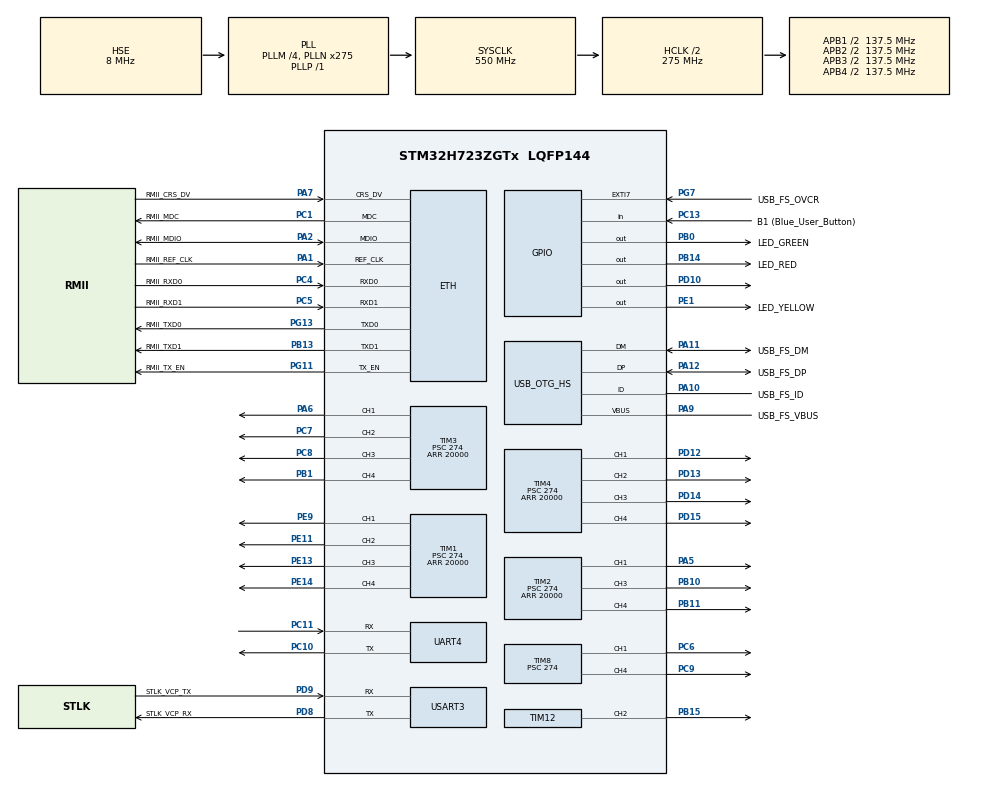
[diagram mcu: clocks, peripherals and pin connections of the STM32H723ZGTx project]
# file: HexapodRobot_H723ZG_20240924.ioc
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ETH.MediaInterface=HAL_ETH_RMII_MODE
Mcu.Family=STM32H7
Mcu.Name=STM32H723ZGTx
Mcu.Package=LQFP144
NVIC.PriorityGroup=NVIC_PRIORITYGROUP_4
PA1.GPIO_Label=RMII_REF_CLK
PA1.Mode=RMII
PA1.Signal=ETH_REF_CLK
PA10.GPIO_Label=USB_FS_ID
PA10.Mode=OTG/Dual-Role-Device-FS
PA10.Signal=USB_OTG_HS_ID
PA11.GPIO_Label=USB_FS_DM
PA11.Mode=OTG/Dual-Role-Device-FS
PA11.Signal=USB_OTG_HS_DM
PA12.GPIO_Label=USB_FS_DP
PA12.Mode=OTG/Dual-Role-Device-FS
PA12.Signal=USB_OTG_HS_DP
PA13(JTMS/SWDIO).GPIO_Label=SWDIO
PA13(JTMS/SWDIO).Mode=Trace_Asynchronous_SW
PA13(JTMS/SWDIO).Signal=DEBUG_JTMS-SWDIO
PA14(JTCK/SWCLK).GPIO_Label=SWCLK
PA14(JTCK/SWCLK).Mode=Trace_Asynchronous_SW
PA14(JTCK/SWCLK).Signal=DEBUG_JTCK-SWCLK
PA2.GPIO_Label=RMII_MDIO
PA2.Mode=RMII
PA2.Signal=ETH_MDIO
PA5.Signal=S_TIM2_CH1_ETR
PA6.Signal=S_TIM3_CH1
PA7.GPIO_Label=RMII_CRS_DV
PA7.Mode=RMII
PA7.Signal=ETH_CRS_DV
PA9.GPIO_Label=USB_FS_VBUS
PA9.Mode=Activate_VBUS_FS
PA9.Signal=USB_OTG_HS_VBUS
PB0.GPIO_Label=LED_GREEN
PB0.Signal=GPIO_Output
PB1.Signal=S_TIM3_CH4
PB10.Signal=S_TIM2_CH3
PB11.Signal=S_TIM2_CH4
PB13.GPIO_Label=RMII_TXD1
PB13.Mode=RMII
PB13.Signal=ETH_TXD1
PB14.GPIO_Label=LED_RED
PB14.Signal=GPIO_Output
PB15.Signal=S_TIM12_CH2
PB3(JTDO/TRACESWO).GPIO_Label=SWO
PB3(JTDO/TRACESWO).Mode=Trace_Asynchronous_SW
PB3(JTDO/TRACESWO).Signal=DEBUG_JTDO-SWO
PC1.GPIO_Label=RMII_MDC
PC1.Mode=RMII
PC1.Signal=ETH_MDC
PC10.Mode=Asynchronous
PC10.Signal=UART4_TX
PC11.Mode=Asynchronous
PC11.Signal=UART4_RX
PC13.GPIO_Label=B1 (Blue_User_Button)
PC13.Signal=GPIO_Input
PC14-OSC32_IN.Mode=LSE-External-Oscillator
PC14-OSC32_IN.Signal=RCC_OSC32_IN
PC15-OSC32_OUT.Mode=LSE-External-Oscillator
PC15-OSC32_OUT.Signal=RCC_OSC32_OUT
PC4.GPIO_Label=RMII_RXD0
PC4.Mode=RMII
PC4.Signal=ETH_RXD0
PC5.GPIO_Label=RMII_RXD1
PC5.Mode=RMII
PC5.Signal=ETH_RXD1
PC6.Signal=S_TIM8_CH1
PC7.Signal=S_TIM3_CH2
PC8.Signal=S_TIM3_CH3
PC9.Signal=S_TIM8_CH4
PD10.Signal=GPIO_Output
PD12.Signal=S_TIM4_CH1
PD13.Signal=S_TIM4_CH2
PD14.Signal=S_TIM4_CH3
PD15.Signal=S_TIM4_CH4
PD8.GPIO_Label=STLK_VCP_RX
PD8.Mode=Asynchronous
PD8.Signal=USART3_TX
PD9.GPIO_Label=STLK_VCP_TX
PD9.Mode=Asynchronous
PD9.Signal=USART3_RX
PE1.GPIO_Label=LED_YELLOW
PE1.Signal=GPIO_Output
PE11.Signal=S_TIM1_CH2
PE13.Signal=S_TIM1_CH3
PE14.Signal=S_TIM1_CH4
PE9.Signal=S_TIM1_CH1
PG11.GPIO_Label=RMII_TX_EN
PG11.Mode=RMII
PG11.Signal=ETH_TX_EN
PG13.GPIO_Label=RMII_TXD0
PG13.Mode=RMII
PG13.Signal=ETH_TXD0
PG7.GPIO_Label=USB_FS_OVCR
PG7.Signal=GPXTI7
PH0-OSC_IN.GPIO_Label=MCO
PH0-OSC_IN.Mode=HSE-External-Clock-Source
PH0-OSC_IN.Signal=RCC_OSC_IN
PH1-OSC_OUT.Signal=RCC_OSC_OUT
ProjectManager.HeapSize=0x200
ProjectManager.StackSize=0x400
ProjectManager.TargetToolchain=STM32CubeIDE
RCC.ADCFreq_Value=76000000
RCC.APB1Freq_Value=137500000
RCC.APB2Freq_Value=137500000
RCC.APB3Freq_Value=137500000
RCC.APB4Freq_Value=137500000
RCC.CortexFreq_Value=550000000
RCC.D1PPRE=RCC_APB3_DIV2
RCC.D2PPRE1=RCC_APB1_DIV2
RCC.D2PPRE2=RCC_APB2_DIV2
RCC.D3PPRE=RCC_APB4_DIV2
RCC.DIVM1=4
RCC.DIVM2=1
RCC.DIVN1=275
RCC.DIVN2=19
RCC.DIVP1=1
RCC.DIVQ1=4
RCC.HCLKFreq_Value=275000000
RCC.HPRE=RCC_HCLK_DIV2
RCC.HSE_VALUE=8000000
RCC.PLLFRACN=0
RCC.PLLSourceVirtual=RCC_PLLSOURCE_HSE
RCC.SYSCLKFreq_VALUE=550000000
RCC.SYSCLKSource=RCC_SYSCLKSOURCE_PLLCLK
RCC.USBCLockSelection=RCC_USBCLKSOURCE_HSI48
RCC.USBFreq_Value=48000000
SH.S_TIM12_CH2.0=TIM12_CH2,PWM Generation2 CH2
SH.S_TIM1_CH1.0=TIM1_CH1,PWM Generation1 CH1
SH.S_TIM1_CH2.0=TIM1_CH2,PWM Generation2 CH2
SH.S_TIM1_CH3.0=TIM1_CH3,PWM Generation3 CH3
SH.S_TIM1_CH4.0=TIM1_CH4,PWM Generation4 CH4
SH.S_TIM2_CH1_ETR.0=TIM2_CH1,PWM Generation1 CH1
SH.S_TIM2_CH3.0=TIM2_CH3,PWM Generation3 CH3
SH.S_TIM2_CH4.0=TIM2_CH4,PWM Generation4 CH4
SH.S_TIM3_CH1.0=TIM3_CH1,PWM Generation1 CH1
SH.S_TIM3_CH2.0=TIM3_CH2,PWM Generation2 CH2
SH.S_TIM3_CH3.0=TIM3_CH3,PWM Generation3 CH3
SH.S_TIM3_CH4.0=TIM3_CH4,PWM Generation4 CH4
SH.S_TIM4_CH1.0=TIM4_CH1,PWM Generation1 CH1
SH.S_TIM4_CH2.0=TIM4_CH2,PWM Generation2 CH2
SH.S_TIM4_CH3.0=TIM4_CH3,PWM Generation3 CH3
SH.S_TIM4_CH4.0=TIM4_CH4,PWM Generation4 CH4
SH.S_TIM8_CH1.0=TIM8_CH1,PWM Generation1 CH1
SH.S_TIM8_CH4.0=TIM8_CH4,PWM Generation4 CH4
TIM1.Channel-PWM\ Generation1\ CH1=TIM_CHANNEL_1
TIM1.Channel-PWM\ Generation2\ CH2=TIM_CHANNEL_2
TIM1.Channel-PWM\ Generation3\ CH3=TIM_CHANNEL_3
TIM1.Channel-PWM\ Generation4\ CH4=TIM_CHANNEL_4
TIM1.Period=20000
TIM1.Prescaler=274
TIM12.Channel-PWM\ Generation2\ CH2=TIM_CHANNEL_2
TIM12.Period=20000
TIM12.Prescaler=274
TIM2.Channel-PWM\ Generation1\ CH1=TIM_CHANNEL_1
TIM2.Channel-PWM\ Generation3\ CH3=TIM_CHANNEL_3
TIM2.Channel-PWM\ Generation4\ CH4=TIM_CHANNEL_4
TIM2.Period=20000
TIM2.Prescaler=274
TIM3.Channel-PWM\ Generation1\ CH1=TIM_CHANNEL_1
TIM3.Channel-PWM\ Generation2\ CH2=TIM_CHANNEL_2
TIM3.Channel-PWM\ Generation3\ CH3=TIM_CHANNEL_3
TIM3.Channel-PWM\ Generation4\ CH4=TIM_CHANNEL_4
TIM3.Period=20000
TIM3.Prescaler=274
TIM4.Channel-PWM\ Generation1\ CH1=TIM_CHANNEL_1
TIM4.Channel-PWM\ Generation2\ CH2=TIM_CHANNEL_2
TIM4.Channel-PWM\ Generation3\ CH3=TIM_CHANNEL_3
TIM4.Channel-PWM\ Generation4\ CH4=TIM_CHANNEL_4
TIM4.Period=20000
TIM4.Prescaler=274
TIM8.Channel-PWM\ Generation1\ CH1=TIM_CHANNEL_1
TIM8.Channel-PWM\ Generation4\ CH4=TIM_CHANNEL_4
TIM8.Period=20000
TIM8.Prescaler=274
USART3.VirtualMode-Asynchronous=VM_ASYNC
VP_MEMORYMAP_VS_MEMORYMAP.Mode=CurAppReg
VP_TIM12_VS_ClockSourceINT.Mode=Internal
VP_TIM1_VS_ClockSourceINT.Mode=Internal
VP_TIM2_VS_ClockSourceINT.Mode=Internal
VP_TIM3_VS_ClockSourceINT.Mode=Internal
VP_TIM4_VS_ClockSourceINT.Mode=Internal
VP_TIM8_VS_ClockSourceINT.Mode=Internal
board=NUCLEO-H723ZG

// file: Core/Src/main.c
/* USER CODE BEGIN Header */
/**
 ******************************************************************************
 * @file           : main.c
 * @brief          : Main program body
 ******************************************************************************
 * @attention
 *
 * Copyright (c) 2024 STMicroelectronics.
 * All rights reserved.
 *
 * This software is licensed under terms that can be found in the LICENSE file
 * in the root directory of this software component.
 * If no LICENSE file comes with this software, it is provided AS-IS.
 *
 ******************************************************************************
 */
/* USER CODE END Header */
#include "main.h"
#include "string.h"

/* USER CODE BEGIN Includes */
#include <stdio.h>
/* USER CODE END Includes */

#if defined ( __ICCARM__ ) /*!< IAR Compiler */
#pragma location=0x30000000
ETH_DMADescTypeDef  DMARxDscrTab[ETH_RX_DESC_CNT]; /* Ethernet Rx DMA Descriptors */
#pragma location=0x30000080
ETH_DMADescTypeDef  DMATxDscrTab[ETH_TX_DESC_CNT]; /* Ethernet Tx DMA Descriptors */

#elif defined ( __CC_ARM )  /* MDK ARM Compiler */

__attribute__((at(0x30000000))) ETH_DMADescTypeDef  DMARxDscrTab[ETH_RX_DESC_CNT]; /* Ethernet Rx DMA Descriptors */
__attribute__((at(0x30000080))) ETH_DMADescTypeDef  DMATxDscrTab[ETH_TX_DESC_CNT]; /* Ethernet Tx DMA Descriptors */

#elif defined ( __GNUC__ ) /* GNU Compiler */

ETH_DMADescTypeDef DMARxDscrTab[ETH_RX_DESC_CNT] __attribute__((section(".RxDecripSection"))); /* Ethernet Rx DMA Descriptors */
ETH_DMADescTypeDef DMATxDscrTab[ETH_TX_DESC_CNT] __attribute__((section(".TxDecripSection")));   /* Ethernet Tx DMA Descriptors */
#endif

ETH_TxPacketConfig TxConfig;

ETH_HandleTypeDef heth;

TIM_HandleTypeDef htim1;
TIM_HandleTypeDef htim2;
TIM_HandleTypeDef htim3;
TIM_HandleTypeDef htim4;
TIM_HandleTypeDef htim8;
TIM_HandleTypeDef htim12;

UART_HandleTypeDef huart4;
UART_HandleTypeDef huart3;

void SystemClock_Config(void);
static void MX_GPIO_Init(void);
static void MX_ETH_Init(void);
static void MX_USART3_UART_Init(void);
static void MX_USB_OTG_HS_USB_Init(void);
static void MX_TIM1_Init(void);
static void MX_TIM2_Init(void);
static void MX_TIM3_Init(void);
static void MX_TIM4_Init(void);
static void MX_TIM8_Init(void);
static void MX_TIM12_Init(void);
static void MX_UART4_Init(void);

int main(void)
{

  /* MCU Configuration--------------------------------------------------------*/

  /* Reset of all peripherals, Initializes the Flash interface and the Systick. */
  HAL_Init();

  /* Configure the system clock */
  SystemClock_Config();

  /* Initialize all configured peripherals */
  MX_GPIO_Init();
  MX_ETH_Init();
  MX_USART3_UART_Init();
  MX_USB_OTG_HS_USB_Init();
  MX_TIM1_Init();
  MX_TIM2_Init();
  MX_TIM3_Init();
  MX_TIM4_Init();
  MX_TIM8_Init();
  MX_TIM12_Init();
  MX_UART4_Init();
  /* USER CODE BEGIN 2 */

	HAL_TIM_PWM_Start(&htim1, TIM_CHANNEL_1);
	HAL_TIM_PWM_Start(&htim1, TIM_CHANNEL_2);
	HAL_TIM_PWM_Start(&htim1, TIM_CHANNEL_3);
	HAL_TIM_PWM_Start(&htim1, TIM_CHANNEL_4);
	HAL_TIM_PWM_Start(&htim2, TIM_CHANNEL_1);
	HAL_TIM_PWM_Start(&htim2, TIM_CHANNEL_3);
	HAL_TIM_PWM_Start(&htim2, TIM_CHANNEL_4);
	HAL_TIM_PWM_Start(&htim3, TIM_CHANNEL_1);
	HAL_TIM_PWM_Start(&htim3, TIM_CHANNEL_2);
	HAL_TIM_PWM_Start(&htim3, TIM_CHANNEL_3);
	HAL_TIM_PWM_Start(&htim3, TIM_CHANNEL_4);
	HAL_TIM_PWM_Start(&htim4, TIM_CHANNEL_1);
	HAL_TIM_PWM_Start(&htim4, TIM_CHANNEL_2);
	HAL_TIM_PWM_Start(&htim4, TIM_CHANNEL_3);
	HAL_TIM_PWM_Start(&htim4, TIM_CHANNEL_4);
	HAL_TIM_PWM_Start(&htim8, TIM_CHANNEL_1);
	HAL_TIM_PWM_Start(&htim8, TIM_CHANNEL_4);
	HAL_TIM_PWM_Start(&htim12, TIM_CHANNEL_2);

	void knl_start_mtkernel(void);
	knl_start_mtkernel();

  /* USER CODE END 2 */

  /* Infinite loop */
	while (1) {

	}
}

void SystemClock_Config(void)
{
  RCC_OscInitTypeDef RCC_OscInitStruct = {0};
  RCC_ClkInitTypeDef RCC_ClkInitStruct = {0};

  /** Supply configuration update enable
  */
  HAL_PWREx_ConfigSupply(PWR_LDO_SUPPLY);

  /** Configure the main internal regulator output voltage
  */
  __HAL_PWR_VOLTAGESCALING_CONFIG(PWR_REGULATOR_VOLTAGE_SCALE0);

  while(!__HAL_PWR_GET_FLAG(PWR_FLAG_VOSRDY)) {}

  /** Initializes the RCC Oscillators according to the specified parameters
  * in the RCC_OscInitTypeDef structure.
  */
  RCC_OscInitStruct.OscillatorType = RCC_OSCILLATORTYPE_HSI48|RCC_OSCILLATORTYPE_HSE;
  RCC_OscInitStruct.HSEState = RCC_HSE_BYPASS;
  RCC_OscInitStruct.HSI48State = RCC_HSI48_ON;
  RCC_OscInitStruct.PLL.PLLState = RCC_PLL_ON;
  RCC_OscInitStruct.PLL.PLLSource = RCC_PLLSOURCE_HSE;
  RCC_OscInitStruct.PLL.PLLM = 4;
  RCC_OscInitStruct.PLL.PLLN = 275;
  RCC_OscInitStruct.PLL.PLLP = 1;
  RCC_OscInitStruct.PLL.PLLQ = 4;
  RCC_OscInitStruct.PLL.PLLR = 2;
  RCC_OscInitStruct.PLL.PLLRGE = RCC_PLL1VCIRANGE_1;
  RCC_OscInitStruct.PLL.PLLVCOSEL = RCC_PLL1VCOWIDE;
  RCC_OscInitStruct.PLL.PLLFRACN = 0;
  if (HAL_RCC_OscConfig(&RCC_OscInitStruct) != HAL_OK)
  {
    Error_Handler();
  }

  /** Initializes the CPU, AHB and APB buses clocks
  */
  RCC_ClkInitStruct.ClockType = RCC_CLOCKTYPE_HCLK|RCC_CLOCKTYPE_SYSCLK
                              |RCC_CLOCKTYPE_PCLK1|RCC_CLOCKTYPE_PCLK2
                              |RCC_CLOCKTYPE_D3PCLK1|RCC_CLOCKTYPE_D1PCLK1;
  RCC_ClkInitStruct.SYSCLKSource = RCC_SYSCLKSOURCE_PLLCLK;
  RCC_ClkInitStruct.SYSCLKDivider = RCC_SYSCLK_DIV1;
  RCC_ClkInitStruct.AHBCLKDivider = RCC_HCLK_DIV2;
  RCC_ClkInitStruct.APB3CLKDivider = RCC_APB3_DIV2;
  RCC_ClkInitStruct.APB1CLKDivider = RCC_APB1_DIV2;
  RCC_ClkInitStruct.APB2CLKDivider = RCC_APB2_DIV2;
  RCC_ClkInitStruct.APB4CLKDivider = RCC_APB4_DIV2;

  if (HAL_RCC_ClockConfig(&RCC_ClkInitStruct, FLASH_LATENCY_3) != HAL_OK)
  {
    Error_Handler();
  }
}

static void MX_ETH_Init(void)
{

   static uint8_t MACAddr[6];

  heth.Instance = ETH;
  MACAddr[0] = 0x00;
  MACAddr[1] = 0x80;
  MACAddr[2] = 0xE1;
  MACAddr[3] = 0x00;
  MACAddr[4] = 0x00;
  MACAddr[5] = 0x00;
  heth.Init.MACAddr = &MACAddr[0];
  heth.Init.MediaInterface = HAL_ETH_RMII_MODE;
  heth.Init.TxDesc = DMATxDscrTab;
  heth.Init.RxDesc = DMARxDscrTab;
  heth.Init.RxBuffLen = 1524;

  if (HAL_ETH_Init(&heth) != HAL_OK)
  {
    Error_Handler();
  }

  memset(&TxConfig, 0 , sizeof(ETH_TxPacketConfig));
  TxConfig.Attributes = ETH_TX_PACKETS_FEATURES_CSUM | ETH_TX_PACKETS_FEATURES_CRCPAD;
  TxConfig.ChecksumCtrl = ETH_CHECKSUM_IPHDR_PAYLOAD_INSERT_PHDR_CALC;
  TxConfig.CRCPadCtrl = ETH_CRC_PAD_INSERT;

}

static void MX_TIM1_Init(void)
{

  TIM_ClockConfigTypeDef sClockSourceConfig = {0};
  TIM_MasterConfigTypeDef sMasterConfig = {0};
  TIM_OC_InitTypeDef sConfigOC = {0};
  TIM_BreakDeadTimeConfigTypeDef sBreakDeadTimeConfig = {0};

  htim1.Instance = TIM1;
  htim1.Init.Prescaler = 274;
  htim1.Init.CounterMode = TIM_COUNTERMODE_UP;
  htim1.Init.Period = 20000;
  htim1.Init.ClockDivision = TIM_CLOCKDIVISION_DIV1;
  htim1.Init.RepetitionCounter = 0;
  htim1.Init.AutoReloadPreload = TIM_AUTORELOAD_PRELOAD_DISABLE;
  if (HAL_TIM_Base_Init(&htim1) != HAL_OK)
  {
    Error_Handler();
  }
  sClockSourceConfig.ClockSource = TIM_CLOCKSOURCE_INTERNAL;
  if (HAL_TIM_ConfigClockSource(&htim1, &sClockSourceConfig) != HAL_OK)
  {
    Error_Handler();
  }
  if (HAL_TIM_PWM_Init(&htim1) != HAL_OK)
  {
    Error_Handler();
  }
  sMasterConfig.MasterOutputTrigger = TIM_TRGO_RESET;
  sMasterConfig.MasterOutputTrigger2 = TIM_TRGO2_RESET;
  sMasterConfig.MasterSlaveMode = TIM_MASTERSLAVEMODE_DISABLE;
  if (HAL_TIMEx_MasterConfigSynchronization(&htim1, &sMasterConfig) != HAL_OK)
  {
    Error_Handler();
  }
  sConfigOC.OCMode = TIM_OCMODE_PWM1;
  sConfigOC.Pulse = 0;
  sConfigOC.OCPolarity = TIM_OCPOLARITY_HIGH;
  sConfigOC.OCNPolarity = TIM_OCNPOLARITY_HIGH;
  sConfigOC.OCFastMode = TIM_OCFAST_DISABLE;
  sConfigOC.OCIdleState = TIM_OCIDLESTATE_RESET;
  sConfigOC.OCNIdleState = TIM_OCNIDLESTATE_RESET;
  if (HAL_TIM_PWM_ConfigChannel(&htim1, &sConfigOC, TIM_CHANNEL_1) != HAL_OK)
  {
    Error_Handler();
  }
  if (HAL_TIM_PWM_ConfigChannel(&htim1, &sConfigOC, TIM_CHANNEL_2) != HAL_OK)
  {
    Error_Handler();
  }
  if (HAL_TIM_PWM_ConfigChannel(&htim1, &sConfigOC, TIM_CHANNEL_3) != HAL_OK)
  {
    Error_Handler();
  }
  if (HAL_TIM_PWM_ConfigChannel(&htim1, &sConfigOC, TIM_CHANNEL_4) != HAL_OK)
  {
    Error_Handler();
  }
  sBreakDeadTimeConfig.OffStateRunMode = TIM_OSSR_DISABLE;
  sBreakDeadTimeConfig.OffStateIDLEMode = TIM_OSSI_DISABLE;
  sBreakDeadTimeConfig.LockLevel = TIM_LOCKLEVEL_OFF;
  sBreakDeadTimeConfig.DeadTime = 0;
  sBreakDeadTimeConfig.BreakState = TIM_BREAK_DISABLE;
  sBreakDeadTimeConfig.BreakPolarity = TIM_BREAKPOLARITY_HIGH;
  sBreakDeadTimeConfig.BreakFilter = 0;
  sBreakDeadTimeConfig.Break2State = TIM_BREAK2_DISABLE;
  sBreakDeadTimeConfig.Break2Polarity = TIM_BREAK2POLARITY_HIGH;
  sBreakDeadTimeConfig.Break2Filter = 0;
  sBreakDeadTimeConfig.AutomaticOutput = TIM_AUTOMATICOUTPUT_DISABLE;
  if (HAL_TIMEx_ConfigBreakDeadTime(&htim1, &sBreakDeadTimeConfig) != HAL_OK)
  {
    Error_Handler();
  }
  HAL_TIM_MspPostInit(&htim1);

}

static void MX_TIM2_Init(void)
{

  TIM_ClockConfigTypeDef sClockSourceConfig = {0};
  TIM_MasterConfigTypeDef sMasterConfig = {0};
  TIM_OC_InitTypeDef sConfigOC = {0};

  htim2.Instance = TIM2;
  htim2.Init.Prescaler = 274;
  htim2.Init.CounterMode = TIM_COUNTERMODE_UP;
  htim2.Init.Period = 20000;
  htim2.Init.ClockDivision = TIM_CLOCKDIVISION_DIV1;
  htim2.Init.AutoReloadPreload = TIM_AUTORELOAD_PRELOAD_DISABLE;
  if (HAL_TIM_Base_Init(&htim2) != HAL_OK)
  {
    Error_Handler();
  }
  sClockSourceConfig.ClockSource = TIM_CLOCKSOURCE_INTERNAL;
  if (HAL_TIM_ConfigClockSource(&htim2, &sClockSourceConfig) != HAL_OK)
  {
    Error_Handler();
  }
  if (HAL_TIM_PWM_Init(&htim2) != HAL_OK)
  {
    Error_Handler();
  }
  sMasterConfig.MasterOutputTrigger = TIM_TRGO_RESET;
  sMasterConfig.MasterSlaveMode = TIM_MASTERSLAVEMODE_DISABLE;
  if (HAL_TIMEx_MasterConfigSynchronization(&htim2, &sMasterConfig) != HAL_OK)
  {
    Error_Handler();
  }
  sConfigOC.OCMode = TIM_OCMODE_PWM1;
  sConfigOC.Pulse = 0;
  sConfigOC.OCPolarity = TIM_OCPOLARITY_HIGH;
  sConfigOC.OCFastMode = TIM_OCFAST_DISABLE;
  if (HAL_TIM_PWM_ConfigChannel(&htim2, &sConfigOC, TIM_CHANNEL_1) != HAL_OK)
  {
    Error_Handler();
  }
  if (HAL_TIM_PWM_ConfigChannel(&htim2, &sConfigOC, TIM_CHANNEL_3) != HAL_OK)
  {
    Error_Handler();
  }
  if (HAL_TIM_PWM_ConfigChannel(&htim2, &sConfigOC, TIM_CHANNEL_4) != HAL_OK)
  {
    Error_Handler();
  }
  HAL_TIM_MspPostInit(&htim2);

}

static void MX_TIM3_Init(void)
{

  TIM_ClockConfigTypeDef sClockSourceConfig = {0};
  TIM_MasterConfigTypeDef sMasterConfig = {0};
  TIM_OC_InitTypeDef sConfigOC = {0};

  htim3.Instance = TIM3;
  htim3.Init.Prescaler = 274;
  htim3.Init.CounterMode = TIM_COUNTERMODE_UP;
  htim3.Init.Period = 20000;
  htim3.Init.ClockDivision = TIM_CLOCKDIVISION_DIV1;
  htim3.Init.AutoReloadPreload = TIM_AUTORELOAD_PRELOAD_DISABLE;
  if (HAL_TIM_Base_Init(&htim3) != HAL_OK)
  {
    Error_Handler();
  }
  sClockSourceConfig.ClockSource = TIM_CLOCKSOURCE_INTERNAL;
  if (HAL_TIM_ConfigClockSource(&htim3, &sClockSourceConfig) != HAL_OK)
  {
    Error_Handler();
  }
  if (HAL_TIM_PWM_Init(&htim3) != HAL_OK)
  {
    Error_Handler();
  }
  sMasterConfig.MasterOutputTrigger = TIM_TRGO_RESET;
  sMasterConfig.MasterSlaveMode = TIM_MASTERSLAVEMODE_DISABLE;
  if (HAL_TIMEx_MasterConfigSynchronization(&htim3, &sMasterConfig) != HAL_OK)
  {
    Error_Handler();
  }
  sConfigOC.OCMode = TIM_OCMODE_PWM1;
  sConfigOC.Pulse = 0;
  sConfigOC.OCPolarity = TIM_OCPOLARITY_HIGH;
  sConfigOC.OCFastMode = TIM_OCFAST_DISABLE;
  if (HAL_TIM_PWM_ConfigChannel(&htim3, &sConfigOC, TIM_CHANNEL_1) != HAL_OK)
  {
    Error_Handler();
  }
  if (HAL_TIM_PWM_ConfigChannel(&htim3, &sConfigOC, TIM_CHANNEL_2) != HAL_OK)
  {
    Error_Handler();
  }
  if (HAL_TIM_PWM_ConfigChannel(&htim3, &sConfigOC, TIM_CHANNEL_3) != HAL_OK)
  {
    Error_Handler();
  }
  if (HAL_TIM_PWM_ConfigChannel(&htim3, &sConfigOC, TIM_CHANNEL_4) != HAL_OK)
  {
    Error_Handler();
  }
  HAL_TIM_MspPostInit(&htim3);

}

static void MX_TIM4_Init(void)
{

  TIM_ClockConfigTypeDef sClockSourceConfig = {0};
  TIM_MasterConfigTypeDef sMasterConfig = {0};
  TIM_OC_InitTypeDef sConfigOC = {0};

  htim4.Instance = TIM4;
  htim4.Init.Prescaler = 274;
  htim4.Init.CounterMode = TIM_COUNTERMODE_UP;
  htim4.Init.Period = 20000;
  htim4.Init.ClockDivision = TIM_CLOCKDIVISION_DIV1;
  htim4.Init.AutoReloadPreload = TIM_AUTORELOAD_PRELOAD_DISABLE;
  if (HAL_TIM_Base_Init(&htim4) != HAL_OK)
  {
    Error_Handler();
  }
  sClockSourceConfig.ClockSource = TIM_CLOCKSOURCE_INTERNAL;
  if (HAL_TIM_ConfigClockSource(&htim4, &sClockSourceConfig) != HAL_OK)
  {
    Error_Handler();
  }
  if (HAL_TIM_PWM_Init(&htim4) != HAL_OK)
  {
    Error_Handler();
  }
  sMasterConfig.MasterOutputTrigger = TIM_TRGO_RESET;
  sMasterConfig.MasterSlaveMode = TIM_MASTERSLAVEMODE_DISABLE;
  if (HAL_TIMEx_MasterConfigSynchronization(&htim4, &sMasterConfig) != HAL_OK)
  {
    Error_Handler();
  }
  sConfigOC.OCMode = TIM_OCMODE_PWM1;
  sConfigOC.Pulse = 0;
  sConfigOC.OCPolarity = TIM_OCPOLARITY_HIGH;
  sConfigOC.OCFastMode = TIM_OCFAST_DISABLE;
  if (HAL_TIM_PWM_ConfigChannel(&htim4, &sConfigOC, TIM_CHANNEL_1) != HAL_OK)
  {
    Error_Handler();
  }
  if (HAL_TIM_PWM_ConfigChannel(&htim4, &sConfigOC, TIM_CHANNEL_2) != HAL_OK)
  {
    Error_Handler();
  }
  if (HAL_TIM_PWM_ConfigChannel(&htim4, &sConfigOC, TIM_CHANNEL_3) != HAL_OK)
  {
    Error_Handler();
  }
  if (HAL_TIM_PWM_ConfigChannel(&htim4, &sConfigOC, TIM_CHANNEL_4) != HAL_OK)
  {
    Error_Handler();
  }
  HAL_TIM_MspPostInit(&htim4);

}

static void MX_TIM8_Init(void)
{

  TIM_ClockConfigTypeDef sClockSourceConfig = {0};
  TIM_MasterConfigTypeDef sMasterConfig = {0};
  TIM_OC_InitTypeDef sConfigOC = {0};
  TIM_BreakDeadTimeConfigTypeDef sBreakDeadTimeConfig = {0};

  htim8.Instance = TIM8;
  htim8.Init.Prescaler = 274;
  htim8.Init.CounterMode = TIM_COUNTERMODE_UP;
  htim8.Init.Period = 20000;
  htim8.Init.ClockDivision = TIM_CLOCKDIVISION_DIV1;
  htim8.Init.RepetitionCounter = 0;
  htim8.Init.AutoReloadPreload = TIM_AUTORELOAD_PRELOAD_DISABLE;
  if (HAL_TIM_Base_Init(&htim8) != HAL_OK)
  {
    Error_Handler();
  }
  sClockSourceConfig.ClockSource = TIM_CLOCKSOURCE_INTERNAL;
  if (HAL_TIM_ConfigClockSource(&htim8, &sClockSourceConfig) != HAL_OK)
  {
    Error_Handler();
  }
  if (HAL_TIM_PWM_Init(&htim8) != HAL_OK)
  {
    Error_Handler();
  }
  sMasterConfig.MasterOutputTrigger = TIM_TRGO_RESET;
  sMasterConfig.MasterOutputTrigger2 = TIM_TRGO2_RESET;
  sMasterConfig.MasterSlaveMode = TIM_MASTERSLAVEMODE_DISABLE;
  if (HAL_TIMEx_MasterConfigSynchronization(&htim8, &sMasterConfig) != HAL_OK)
  {
    Error_Handler();
  }
  sConfigOC.OCMode = TIM_OCMODE_PWM1;
  sConfigOC.Pulse = 0;
  sConfigOC.OCPolarity = TIM_OCPOLARITY_HIGH;
  sConfigOC.OCNPolarity = TIM_OCNPOLARITY_HIGH;
  sConfigOC.OCFastMode = TIM_OCFAST_DISABLE;
  sConfigOC.OCIdleState = TIM_OCIDLESTATE_RESET;
  sConfigOC.OCNIdleState = TIM_OCNIDLESTATE_RESET;
  if (HAL_TIM_PWM_ConfigChannel(&htim8, &sConfigOC, TIM_CHANNEL_1) != HAL_OK)
  {
    Error_Handler();
  }
  if (HAL_TIM_PWM_ConfigChannel(&htim8, &sConfigOC, TIM_CHANNEL_4) != HAL_OK)
  {
    Error_Handler();
  }
  sBreakDeadTimeConfig.OffStateRunMode = TIM_OSSR_DISABLE;
  sBreakDeadTimeConfig.OffStateIDLEMode = TIM_OSSI_DISABLE;
  sBreakDeadTimeConfig.LockLevel = TIM_LOCKLEVEL_OFF;
  sBreakDeadTimeConfig.DeadTime = 0;
  sBreakDeadTimeConfig.BreakState = TIM_BREAK_DISABLE;
  sBreakDeadTimeConfig.BreakPolarity = TIM_BREAKPOLARITY_HIGH;
  sBreakDeadTimeConfig.BreakFilter = 0;
  sBreakDeadTimeConfig.Break2State = TIM_BREAK2_DISABLE;
  sBreakDeadTimeConfig.Break2Polarity = TIM_BREAK2POLARITY_HIGH;
  sBreakDeadTimeConfig.Break2Filter = 0;
  sBreakDeadTimeConfig.AutomaticOutput = TIM_AUTOMATICOUTPUT_DISABLE;
  if (HAL_TIMEx_ConfigBreakDeadTime(&htim8, &sBreakDeadTimeConfig) != HAL_OK)
  {
    Error_Handler();
  }
  HAL_TIM_MspPostInit(&htim8);

}

static void MX_TIM12_Init(void)
{

  TIM_ClockConfigTypeDef sClockSourceConfig = {0};
  TIM_MasterConfigTypeDef sMasterConfig = {0};
  TIM_OC_InitTypeDef sConfigOC = {0};

  htim12.Instance = TIM12;
  htim12.Init.Prescaler = 274;
  htim12.Init.CounterMode = TIM_COUNTERMODE_UP;
  htim12.Init.Period = 20000;
  htim12.Init.ClockDivision = TIM_CLOCKDIVISION_DIV1;
  htim12.Init.AutoReloadPreload = TIM_AUTORELOAD_PRELOAD_DISABLE;
  if (HAL_TIM_Base_Init(&htim12) != HAL_OK)
  {
    Error_Handler();
  }
  sClockSourceConfig.ClockSource = TIM_CLOCKSOURCE_INTERNAL;
  if (HAL_TIM_ConfigClockSource(&htim12, &sClockSourceConfig) != HAL_OK)
  {
    Error_Handler();
  }
  if (HAL_TIM_PWM_Init(&htim12) != HAL_OK)
  {
    Error_Handler();
  }
  sMasterConfig.MasterOutputTrigger = TIM_TRGO_RESET;
  sMasterConfig.MasterSlaveMode = TIM_MASTERSLAVEMODE_DISABLE;
  if (HAL_TIMEx_MasterConfigSynchronization(&htim12, &sMasterConfig) != HAL_OK)
  {
    Error_Handler();
  }
  sConfigOC.OCMode = TIM_OCMODE_PWM1;
  sConfigOC.Pulse = 0;
  sConfigOC.OCPolarity = TIM_OCPOLARITY_HIGH;
  sConfigOC.OCFastMode = TIM_OCFAST_DISABLE;
  if (HAL_TIM_PWM_ConfigChannel(&htim12, &sConfigOC, TIM_CHANNEL_2) != HAL_OK)
  {
    Error_Handler();
  }
  HAL_TIM_MspPostInit(&htim12);

}

static void MX_UART4_Init(void)
{

  huart4.Instance = UART4;
  huart4.Init.BaudRate = 115200;
  huart4.Init.WordLength = UART_WORDLENGTH_8B;
  huart4.Init.StopBits = UART_STOPBITS_1;
  huart4.Init.Parity = UART_PARITY_NONE;
  huart4.Init.Mode = UART_MODE_TX_RX;
  huart4.Init.HwFlowCtl = UART_HWCONTROL_NONE;
  huart4.Init.OverSampling = UART_OVERSAMPLING_16;
  huart4.Init.OneBitSampling = UART_ONE_BIT_SAMPLE_DISABLE;
  huart4.Init.ClockPrescaler = UART_PRESCALER_DIV1;
  huart4.AdvancedInit.AdvFeatureInit = UART_ADVFEATURE_NO_INIT;
  if (HAL_UART_Init(&huart4) != HAL_OK)
  {
    Error_Handler();
  }
  if (HAL_UARTEx_SetTxFifoThreshold(&huart4, UART_TXFIFO_THRESHOLD_1_8) != HAL_OK)
  {
    Error_Handler();
  }
  if (HAL_UARTEx_SetRxFifoThreshold(&huart4, UART_RXFIFO_THRESHOLD_1_8) != HAL_OK)
  {
    Error_Handler();
  }
  if (HAL_UARTEx_DisableFifoMode(&huart4) != HAL_OK)
  {
    Error_Handler();
  }

}

static void MX_USART3_UART_Init(void)
{

  huart3.Instance = USART3;
  huart3.Init.BaudRate = 115200;
  huart3.Init.WordLength = UART_WORDLENGTH_8B;
  huart3.Init.StopBits = UART_STOPBITS_1;
  huart3.Init.Parity = UART_PARITY_NONE;
  huart3.Init.Mode = UART_MODE_TX_RX;
  huart3.Init.HwFlowCtl = UART_HWCONTROL_NONE;
  huart3.Init.OverSampling = UART_OVERSAMPLING_16;
  huart3.Init.OneBitSampling = UART_ONE_BIT_SAMPLE_DISABLE;
  huart3.Init.ClockPrescaler = UART_PRESCALER_DIV1;
  huart3.AdvancedInit.AdvFeatureInit = UART_ADVFEATURE_NO_INIT;
  if (HAL_UART_Init(&huart3) != HAL_OK)
  {
    Error_Handler();
  }
  if (HAL_UARTEx_SetTxFifoThreshold(&huart3, UART_TXFIFO_THRESHOLD_1_8) != HAL_OK)
  {
    Error_Handler();
  }
  if (HAL_UARTEx_SetRxFifoThreshold(&huart3, UART_RXFIFO_THRESHOLD_1_8) != HAL_OK)
  {
    Error_Handler();
  }
  if (HAL_UARTEx_DisableFifoMode(&huart3) != HAL_OK)
  {
    Error_Handler();
  }

}

static void MX_USB_OTG_HS_USB_Init(void)
{

}

static void MX_GPIO_Init(void)
{
  GPIO_InitTypeDef GPIO_InitStruct = {0};

  /* GPIO Ports Clock Enable */
  __HAL_RCC_GPIOC_CLK_ENABLE();
  __HAL_RCC_GPIOH_CLK_ENABLE();
  __HAL_RCC_GPIOA_CLK_ENABLE();
  __HAL_RCC_GPIOB_CLK_ENABLE();
  __HAL_RCC_GPIOE_CLK_ENABLE();
  __HAL_RCC_GPIOD_CLK_ENABLE();
  __HAL_RCC_GPIOG_CLK_ENABLE();

  /*Configure GPIO pin Output Level */
  HAL_GPIO_WritePin(GPIOB, LED_GREEN_Pin|LED_RED_Pin, GPIO_PIN_RESET);

  /*Configure GPIO pin Output Level */
  HAL_GPIO_WritePin(GPIOD, GPIO_PIN_10, GPIO_PIN_RESET);

  /*Configure GPIO pin Output Level */
  HAL_GPIO_WritePin(LED_YELLOW_GPIO_Port, LED_YELLOW_Pin, GPIO_PIN_RESET);

  /*Configure GPIO pin : B1_Pin */
  GPIO_InitStruct.Pin = B1_Pin;
  GPIO_InitStruct.Mode = GPIO_MODE_INPUT;
  GPIO_InitStruct.Pull = GPIO_NOPULL;
  HAL_GPIO_Init(B1_GPIO_Port, &GPIO_InitStruct);

  /*Configure GPIO pins : LED_GREEN_Pin LED_RED_Pin */
  GPIO_InitStruct.Pin = LED_GREEN_Pin|LED_RED_Pin;
  GPIO_InitStruct.Mode = GPIO_MODE_OUTPUT_PP;
  GPIO_InitStruct.Pull = GPIO_NOPULL;
  GPIO_InitStruct.Speed = GPIO_SPEED_FREQ_LOW;
  HAL_GPIO_Init(GPIOB, &GPIO_InitStruct);

  /*Configure GPIO pin : PD10 */
  GPIO_InitStruct.Pin = GPIO_PIN_10;
  GPIO_InitStruct.Mode = GPIO_MODE_OUTPUT_PP;
  GPIO_InitStruct.Pull = GPIO_NOPULL;
  GPIO_InitStruct.Speed = GPIO_SPEED_FREQ_LOW;
  HAL_GPIO_Init(GPIOD, &GPIO_InitStruct);

  /*Configure GPIO pin : USB_FS_OVCR_Pin */
  GPIO_InitStruct.Pin = USB_FS_OVCR_Pin;
  GPIO_InitStruct.Mode = GPIO_MODE_IT_RISING;
  GPIO_InitStruct.Pull = GPIO_NOPULL;
  HAL_GPIO_Init(USB_FS_OVCR_GPIO_Port, &GPIO_InitStruct);

  /*Configure GPIO pin : USB_FS_VBUS_Pin */
  GPIO_InitStruct.Pin = USB_FS_VBUS_Pin;
  GPIO_InitStruct.Mode = GPIO_MODE_INPUT;
  GPIO_InitStruct.Pull = GPIO_NOPULL;
  HAL_GPIO_Init(USB_FS_VBUS_GPIO_Port, &GPIO_InitStruct);

  /*Configure GPIO pin : USB_FS_ID_Pin */
  GPIO_InitStruct.Pin = USB_FS_ID_Pin;
  GPIO_InitStruct.Mode = GPIO_MODE_AF_PP;
  GPIO_InitStruct.Pull = GPIO_NOPULL;
  GPIO_InitStruct.Speed = GPIO_SPEED_FREQ_LOW;
  GPIO_InitStruct.Alternate = GPIO_AF10_OTG1_HS;
  HAL_GPIO_Init(USB_FS_ID_GPIO_Port, &GPIO_InitStruct);

  /*Configure GPIO pin : LED_YELLOW_Pin */
  GPIO_InitStruct.Pin = LED_YELLOW_Pin;
  GPIO_InitStruct.Mode = GPIO_MODE_OUTPUT_PP;
  GPIO_InitStruct.Pull = GPIO_NOPULL;
  GPIO_InitStruct.Speed = GPIO_SPEED_FREQ_LOW;
  HAL_GPIO_Init(LED_YELLOW_GPIO_Port, &GPIO_InitStruct);

}

void Error_Handler(void)
{
	__disable_irq();
	while (1) {
	}
}
